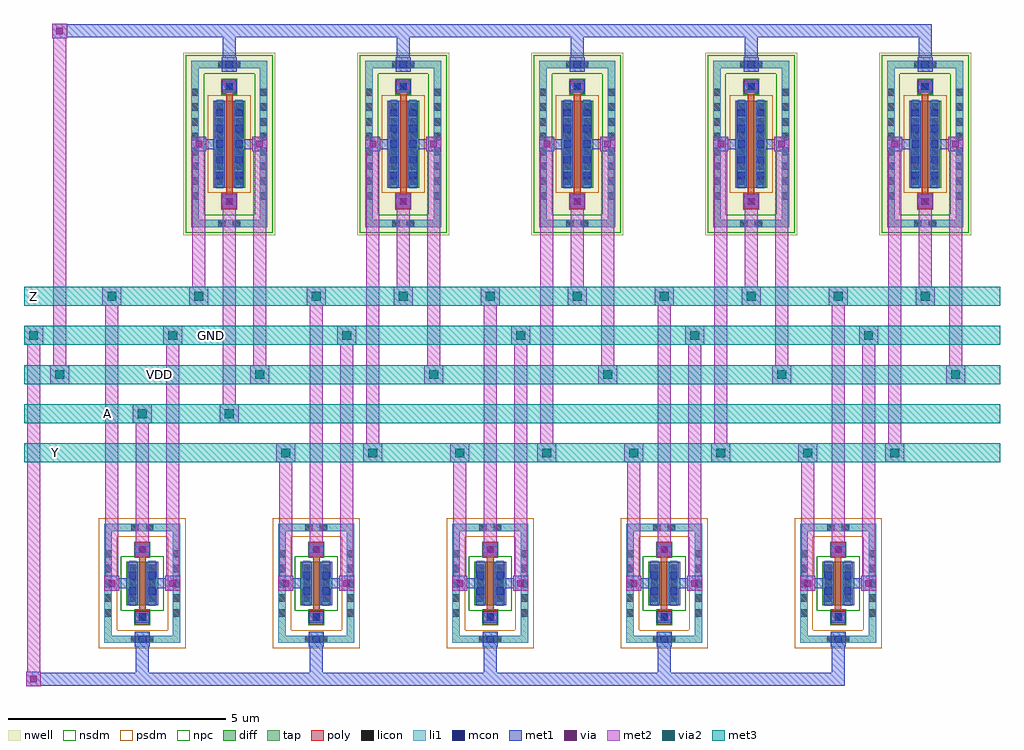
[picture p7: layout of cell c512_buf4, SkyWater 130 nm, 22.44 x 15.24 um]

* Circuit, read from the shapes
.subckt c512_buf4 A GND VDD Y Z
XM1 GND A Z GND sky130_fd_pr__nfet_01v8 w=1 l=0.15
XM2 GND Z Y GND sky130_fd_pr__nfet_01v8 w=1 l=0.15 m=4
XM3 VDD A Z VDD sky130_fd_pr__pfet_01v8 w=2 l=0.15
XM4 VDD Z Y VDD sky130_fd_pr__pfet_01v8 w=2 l=0.15 m=4
.ends

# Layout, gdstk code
import gdstk
lib = gdstk.Library(unit=1e-6, precision=1e-09)
def R(c, l, rs):  # rectangles x0, y0, x1, y1
    for r in rs: c.add(gdstk.rectangle(r[:2], r[2:], *l))
def A(c, l, x, y, w, h, nx, ny, dx, dy):  # array of equal rectangles
    R(c, l, [(x+i*dx, y+j*dy, x+i*dx+w, y+j*dy+h) for i in range(nx) for j in range(ny)])
nwell = (64, 20)
diff = (65, 20)
tap = (65, 44)
poly = (66, 20)
licon = (66, 44)
li1 = (67, 20)
mcon = (67, 44)
met1 = (68, 20)
via = (68, 44)
met2 = (69, 20)
via2 = (69, 44)
met3 = (70, 20)
nsdm = (93, 44)
psdm = (94, 20)
npc = (95, 20)

c512_buf4 = lib.new_cell('c512_buf4')
A(c512_buf4, nwell, 3.945, 8.005, 2.11, 4.19, 5, 1, 4, 0)
A(c512_buf4, diff, 2.635, -0.5, 0.73, 1, 5, 1, 4, 0)
A(c512_buf4, diff, 4.635, 9.1, 0.73, 2, 5, 1, 4, 0)
A(c512_buf4, tap, 2.125, -1.37, 1.75, 0.17, 5, 2, 4, 2.57)
A(c512_buf4, tap, 4.125, 8.185, 1.75, 0.17, 5, 2, 4, 3.66)
R(c512_buf4, tap, [(2.125,-1.2,2.295,1.2), (3.705,-1.2,3.875,1.2), (6.125,-1.2,6.295,1.2), (7.705,-1.2,7.875,1.2), (10.125,-1.2,10.295,1.2), (11.705,-1.2,11.875,1.2), (14.125,-1.2,14.295,1.2), (15.705,-1.2,15.875,1.2), (18.125,-1.2,18.295,1.2), (19.705,-1.2,19.875,1.2), (4.125,8.355,4.295,11.845), (5.705,8.355,5.875,11.845), (8.125,8.355,8.295,11.845), (9.705,8.355,9.875,11.845), (12.125,8.355,12.295,11.845), (13.705,8.355,13.875,11.845), (16.125,8.355,16.295,11.845), (17.705,8.355,17.875,11.845), (20.125,8.355,20.295,11.845), (21.705,8.355,21.875,11.845)])
A(c512_buf4, poly, 2.835, -0.94, 0.33, 0.33, 5, 2, 4, 1.55)
A(c512_buf4, poly, 2.925, -0.61, 0.15, 1.22, 5, 1, 4, 0)
A(c512_buf4, poly, 4.835, 8.615, 0.33, 0.33, 5, 2, 4, 2.64)
A(c512_buf4, poly, 4.925, 8.945, 0.15, 2.31, 5, 1, 4, 0)
A(c512_buf4, licon, 2.915, -0.86, 0.17, 0.17, 5, 2, 4, 1.55)
A(c512_buf4, licon, 2.125, -0.765, 0.17, 0.17, 1, 5, 0, 0.34)
A(c512_buf4, licon, 3.705, -0.765, 0.17, 0.17, 1, 5, 0, 0.34)
A(c512_buf4, licon, 6.125, -0.765, 0.17, 0.17, 1, 5, 0, 0.34)
A(c512_buf4, licon, 7.705, -0.765, 0.17, 0.17, 1, 5, 0, 0.34)
A(c512_buf4, licon, 10.125, -0.765, 0.17, 0.17, 1, 5, 0, 0.34)
A(c512_buf4, licon, 11.705, -0.765, 0.17, 0.17, 1, 5, 0, 0.34)
A(c512_buf4, licon, 14.125, -0.765, 0.17, 0.17, 1, 5, 0, 0.34)
A(c512_buf4, licon, 15.705, -0.765, 0.17, 0.17, 1, 5, 0, 0.34)
A(c512_buf4, licon, 18.125, -0.765, 0.17, 0.17, 1, 5, 0, 0.34)
A(c512_buf4, licon, 19.705, -0.765, 0.17, 0.17, 1, 5, 0, 0.34)
A(c512_buf4, licon, 2.695, -0.425, 0.17, 0.17, 1, 3, 0, 0.34)
A(c512_buf4, licon, 3.135, -0.425, 0.17, 0.17, 1, 3, 0, 0.34)
A(c512_buf4, licon, 6.695, -0.425, 0.17, 0.17, 1, 3, 0, 0.34)
A(c512_buf4, licon, 7.135, -0.425, 0.17, 0.17, 1, 3, 0, 0.34)
A(c512_buf4, licon, 10.695, -0.425, 0.17, 0.17, 1, 3, 0, 0.34)
A(c512_buf4, licon, 11.135, -0.425, 0.17, 0.17, 1, 3, 0, 0.34)
A(c512_buf4, licon, 14.695, -0.425, 0.17, 0.17, 1, 3, 0, 0.34)
A(c512_buf4, licon, 15.135, -0.425, 0.17, 0.17, 1, 3, 0, 0.34)
A(c512_buf4, licon, 18.695, -0.425, 0.17, 0.17, 1, 3, 0, 0.34)
A(c512_buf4, licon, 19.135, -0.425, 0.17, 0.17, 1, 3, 0, 0.34)
A(c512_buf4, licon, 4.915, 8.695, 0.17, 0.17, 5, 2, 4, 2.64)
A(c512_buf4, licon, 4.125, 8.825, 0.17, 0.17, 1, 8, 0, 0.34)
A(c512_buf4, licon, 5.705, 8.825, 0.17, 0.17, 1, 8, 0, 0.34)
A(c512_buf4, licon, 8.125, 8.825, 0.17, 0.17, 1, 8, 0, 0.34)
A(c512_buf4, licon, 9.705, 8.825, 0.17, 0.17, 1, 8, 0, 0.34)
A(c512_buf4, licon, 12.125, 8.825, 0.17, 0.17, 1, 8, 0, 0.34)
A(c512_buf4, licon, 13.705, 8.825, 0.17, 0.17, 1, 8, 0, 0.34)
A(c512_buf4, licon, 16.125, 8.825, 0.17, 0.17, 1, 8, 0, 0.34)
A(c512_buf4, licon, 17.705, 8.825, 0.17, 0.17, 1, 8, 0, 0.34)
A(c512_buf4, licon, 20.125, 8.825, 0.17, 0.17, 1, 8, 0, 0.34)
A(c512_buf4, licon, 21.705, 8.825, 0.17, 0.17, 1, 8, 0, 0.34)
A(c512_buf4, licon, 4.695, 9.165, 0.17, 0.17, 1, 6, 0, 0.34)
A(c512_buf4, licon, 5.135, 9.165, 0.17, 0.17, 1, 6, 0, 0.34)
A(c512_buf4, licon, 8.695, 9.165, 0.17, 0.17, 1, 6, 0, 0.34)
A(c512_buf4, licon, 9.135, 9.165, 0.17, 0.17, 1, 6, 0, 0.34)
A(c512_buf4, licon, 12.695, 9.165, 0.17, 0.17, 1, 6, 0, 0.34)
A(c512_buf4, licon, 13.135, 9.165, 0.17, 0.17, 1, 6, 0, 0.34)
A(c512_buf4, licon, 16.695, 9.165, 0.17, 0.17, 1, 6, 0, 0.34)
A(c512_buf4, licon, 17.135, 9.165, 0.17, 0.17, 1, 6, 0, 0.34)
A(c512_buf4, licon, 20.695, 9.165, 0.17, 0.17, 1, 6, 0, 0.34)
A(c512_buf4, licon, 21.135, 9.165, 0.17, 0.17, 1, 6, 0, 0.34)
R(c512_buf4, licon, [(2.745,-1.37,2.915,-1.2), (3.085,-1.37,3.255,-1.2), (6.745,-1.37,6.915,-1.2), (7.085,-1.37,7.255,-1.2), (10.745,-1.37,10.915,-1.2), (11.085,-1.37,11.255,-1.2), (14.745,-1.37,14.915,-1.2), (15.085,-1.37,15.255,-1.2), (18.745,-1.37,18.915,-1.2), (19.085,-1.37,19.255,-1.2), (2.745,1.2,2.915,1.37), (3.085,1.2,3.255,1.37), (6.745,1.2,6.915,1.37), (7.085,1.2,7.255,1.37), (10.745,1.2,10.915,1.37), (11.085,1.2,11.255,1.37), (14.745,1.2,14.915,1.37), (15.085,1.2,15.255,1.37), (18.745,1.2,18.915,1.37), (19.085,1.2,19.255,1.37), (4.745,8.185,4.915,8.355), (5.085,8.185,5.255,8.355), (8.745,8.185,8.915,8.355), (9.085,8.185,9.255,8.355), (12.745,8.185,12.915,8.355), (13.085,8.185,13.255,8.355), (16.745,8.185,16.915,8.355), (17.085,8.185,17.255,8.355), (20.745,8.185,20.915,8.355), (21.085,8.185,21.255,8.355), (4.745,11.845,4.915,12.015), (5.085,11.845,5.255,12.015), (8.745,11.845,8.915,12.015), (9.085,11.845,9.255,12.015), (12.745,11.845,12.915,12.015), (13.085,11.845,13.255,12.015), (16.745,11.845,16.915,12.015), (17.085,11.845,17.255,12.015), (20.745,11.845,20.915,12.015), (21.085,11.845,21.255,12.015)])
A(c512_buf4, li1, 2.83, -1.455, 0.34, 0.085, 5, 2, 4, 0.255)
A(c512_buf4, li1, 2.125, -1.37, 1.75, 0.17, 5, 2, 4, 2.57)
A(c512_buf4, li1, 2.835, -0.86, 0.33, 0.17, 5, 2, 4, 1.55)
A(c512_buf4, li1, 4.125, 8.185, 1.75, 0.17, 5, 2, 4, 3.66)
A(c512_buf4, li1, 4.835, 8.695, 0.33, 0.17, 5, 2, 4, 2.64)
A(c512_buf4, li1, 4.83, 11.76, 0.34, 0.085, 5, 2, 4, 0.255)
R(c512_buf4, li1, [(2.125,-1.2,2.295,1.2), (3.705,-1.2,3.875,1.2), (6.125,-1.2,6.295,1.2), (7.705,-1.2,7.875,1.2), (10.125,-1.2,10.295,1.2), (11.705,-1.2,11.875,1.2), (14.125,-1.2,14.295,1.2), (15.705,-1.2,15.875,1.2), (18.125,-1.2,18.295,1.2), (19.705,-1.2,19.875,1.2), (2.695,-0.52,2.865,0.52), (3.135,-0.52,3.305,0.52), (6.695,-0.52,6.865,0.52), (7.135,-0.52,7.305,0.52), (10.695,-0.52,10.865,0.52), (11.135,-0.52,11.305,0.52), (14.695,-0.52,14.865,0.52), (15.135,-0.52,15.305,0.52), (18.695,-0.52,18.865,0.52), (19.135,-0.52,19.305,0.52), (4.125,8.355,4.295,11.845), (5.705,8.355,5.875,11.845), (8.125,8.355,8.295,11.845), (9.705,8.355,9.875,11.845), (12.125,8.355,12.295,11.845), (13.705,8.355,13.875,11.845), (16.125,8.355,16.295,11.845), (17.705,8.355,17.875,11.845), (20.125,8.355,20.295,11.845), (21.705,8.355,21.875,11.845), (4.695,9.08,4.865,11.12), (5.135,9.08,5.305,11.12), (8.695,9.08,8.865,11.12), (9.135,9.08,9.305,11.12), (12.695,9.08,12.865,11.12), (13.135,9.08,13.305,11.12), (16.695,9.08,16.865,11.12), (17.135,9.08,17.305,11.12), (20.695,9.08,20.865,11.12), (21.135,9.08,21.305,11.12)])
A(c512_buf4, mcon, 2.915, -1.37, 0.17, 0.17, 5, 2, 4, 0.51)
A(c512_buf4, mcon, 2.915, 0.69, 0.17, 0.17, 5, 1, 4, 0)
A(c512_buf4, mcon, 4.915, 8.695, 0.17, 0.17, 5, 2, 4, 2.64)
A(c512_buf4, mcon, 4.695, 9.295, 0.17, 0.17, 1, 5, 0, 0.36)
A(c512_buf4, mcon, 5.135, 9.295, 0.17, 0.17, 1, 5, 0, 0.36)
A(c512_buf4, mcon, 8.695, 9.295, 0.17, 0.17, 1, 5, 0, 0.36)
A(c512_buf4, mcon, 9.135, 9.295, 0.17, 0.17, 1, 5, 0, 0.36)
A(c512_buf4, mcon, 12.695, 9.295, 0.17, 0.17, 1, 5, 0, 0.36)
A(c512_buf4, mcon, 13.135, 9.295, 0.17, 0.17, 1, 5, 0, 0.36)
A(c512_buf4, mcon, 16.695, 9.295, 0.17, 0.17, 1, 5, 0, 0.36)
A(c512_buf4, mcon, 17.135, 9.295, 0.17, 0.17, 1, 5, 0, 0.36)
A(c512_buf4, mcon, 20.695, 9.295, 0.17, 0.17, 1, 5, 0, 0.36)
A(c512_buf4, mcon, 21.135, 9.295, 0.17, 0.17, 1, 5, 0, 0.36)
A(c512_buf4, mcon, 4.915, 11.845, 0.17, 0.17, 5, 1, 4, 0)
R(c512_buf4, mcon, [(2.695,-0.265,2.865,-0.095), (3.135,-0.265,3.305,-0.095), (6.695,-0.265,6.865,-0.095), (7.135,-0.265,7.305,-0.095), (10.695,-0.265,10.865,-0.095), (11.135,-0.265,11.305,-0.095), (14.695,-0.265,14.865,-0.095), (15.135,-0.265,15.305,-0.095), (18.695,-0.265,18.865,-0.095), (19.135,-0.265,19.305,-0.095), (2.695,0.095,2.865,0.265), (3.135,0.095,3.305,0.265), (6.695,0.095,6.865,0.265), (7.135,0.095,7.305,0.265), (10.695,0.095,10.865,0.265), (11.135,0.095,11.305,0.265), (14.695,0.095,14.865,0.265), (15.135,0.095,15.305,0.265), (18.695,0.095,18.865,0.265), (19.135,0.095,19.305,0.265)])
A(c512_buf4, met1, 2.85, -2.05, 0.3, 0.595, 5, 1, 4, 0)
A(c512_buf4, met1, 2.83, -1.455, 0.34, 0.34, 5, 1, 4, 0)
A(c512_buf4, met1, 2.83, -0.905, 0.34, 0.26, 5, 2, 4, 1.55)
A(c512_buf4, met1, 4.83, 8.65, 0.34, 0.26, 5, 2, 4, 2.64)
A(c512_buf4, met1, 4.83, 11.76, 0.34, 0.34, 5, 1, 4, 0)
A(c512_buf4, met1, 4.85, 12.1, 0.3, 0.45, 5, 1, 4, 0)
R(c512_buf4, met1, [(0.33,-2.37,0.67,-2.35), (0.33,-2.35,19.15,-2.05), (0.33,-2.05,0.67,-2.03), (2.665,-0.5,2.895,-0.115), (3.105,-0.5,3.335,-0.115), (6.665,-0.5,6.895,-0.115), (7.105,-0.5,7.335,-0.115), (10.665,-0.5,10.895,-0.115), (11.105,-0.5,11.335,-0.115), (14.665,-0.5,14.895,-0.115), (15.105,-0.5,15.335,-0.115), (18.665,-0.5,18.895,-0.115), (19.105,-0.5,19.335,-0.115), (2.13,-0.17,2.47,-0.115), (3.53,-0.17,3.87,-0.115), (6.13,-0.17,6.47,-0.115), (7.53,-0.17,7.87,-0.115), (10.13,-0.17,10.47,-0.115), (11.53,-0.17,11.87,-0.115), (14.13,-0.17,14.47,-0.115), (15.53,-0.17,15.87,-0.115), (18.13,-0.17,18.47,-0.115), (19.53,-0.17,19.87,-0.115), (2.13,-0.115,2.895,0.115), (3.105,-0.115,3.87,0.115), (6.13,-0.115,6.895,0.115), (7.105,-0.115,7.87,0.115), (10.13,-0.115,10.895,0.115), (11.105,-0.115,11.87,0.115), (14.13,-0.115,14.895,0.115), (15.105,-0.115,15.87,0.115), (18.13,-0.115,18.895,0.115), (19.105,-0.115,19.87,0.115), (2.13,0.115,2.47,0.17), (2.665,0.115,2.895,0.5), (3.105,0.115,3.335,0.5), (3.53,0.115,3.87,0.17), (6.13,0.115,6.47,0.17), (6.665,0.115,6.895,0.5), (7.105,0.115,7.335,0.5), (7.53,0.115,7.87,0.17), (10.13,0.115,10.47,0.17), (10.665,0.115,10.895,0.5), (11.105,0.115,11.335,0.5), (11.53,0.115,11.87,0.17), (14.13,0.115,14.47,0.17), (14.665,0.115,14.895,0.5), (15.105,0.115,15.335,0.5), (15.53,0.115,15.87,0.17), (18.13,0.115,18.47,0.17), (18.665,0.115,18.895,0.5), (19.105,0.115,19.335,0.5), (19.53,0.115,19.87,0.17), (4.665,9.1,4.895,9.985), (5.105,9.1,5.335,9.985), (8.665,9.1,8.895,9.985), (9.105,9.1,9.335,9.985), (12.665,9.1,12.895,9.985), (13.105,9.1,13.335,9.985), (16.665,9.1,16.895,9.985), (17.105,9.1,17.335,9.985), (20.665,9.1,20.895,9.985), (21.105,9.1,21.335,9.985), (4.13,9.93,4.47,9.985), (5.53,9.93,5.87,9.985), (8.13,9.93,8.47,9.985), (9.53,9.93,9.87,9.985), (12.13,9.93,12.47,9.985), (13.53,9.93,13.87,9.985), (16.13,9.93,16.47,9.985), (17.53,9.93,17.87,9.985), (20.13,9.93,20.47,9.985), (21.53,9.93,21.87,9.985), (4.13,9.985,4.895,10.215), (5.105,9.985,5.87,10.215), (8.13,9.985,8.895,10.215), (9.105,9.985,9.87,10.215), (12.13,9.985,12.895,10.215), (13.105,9.985,13.87,10.215), (16.13,9.985,16.895,10.215), (17.105,9.985,17.87,10.215), (20.13,9.985,20.895,10.215), (21.105,9.985,21.87,10.215), (4.13,10.215,4.47,10.27), (4.665,10.215,4.895,11.1), (5.105,10.215,5.335,11.1), (5.53,10.215,5.87,10.27), (8.13,10.215,8.47,10.27), (8.665,10.215,8.895,11.1), (9.105,10.215,9.335,11.1), (9.53,10.215,9.87,10.27), (12.13,10.215,12.47,10.27), (12.665,10.215,12.895,11.1), (13.105,10.215,13.335,11.1), (13.53,10.215,13.87,10.27), (16.13,10.215,16.47,10.27), (16.665,10.215,16.895,11.1), (17.105,10.215,17.335,11.1), (17.53,10.215,17.87,10.27), (20.13,10.215,20.47,10.27), (20.665,10.215,20.895,11.1), (21.105,10.215,21.335,11.1), (21.53,10.215,21.87,10.27), (0.93,12.53,1.27,12.55), (0.93,12.55,21.15,12.85), (0.93,12.85,1.27,12.87)])
A(c512_buf4, via, 2.925, 0.7, 0.15, 0.15, 5, 1, 4, 0)
A(c512_buf4, via, 4.925, 8.705, 0.15, 0.15, 5, 1, 4, 0)
R(c512_buf4, via, [(0.425,-2.275,0.575,-2.125), (2.225,-0.075,2.375,0.075), (3.625,-0.075,3.775,0.075), (6.225,-0.075,6.375,0.075), (7.625,-0.075,7.775,0.075), (10.225,-0.075,10.375,0.075), (11.625,-0.075,11.775,0.075), (14.225,-0.075,14.375,0.075), (15.625,-0.075,15.775,0.075), (18.225,-0.075,18.375,0.075), (19.625,-0.075,19.775,0.075), (4.225,10.025,4.375,10.175), (5.625,10.025,5.775,10.175), (8.225,10.025,8.375,10.175), (9.625,10.025,9.775,10.175), (12.225,10.025,12.375,10.175), (13.625,10.025,13.775,10.175), (16.225,10.025,16.375,10.175), (17.625,10.025,17.775,10.175), (20.225,10.025,20.375,10.175), (21.625,10.025,21.775,10.175), (1.025,12.625,1.175,12.775)])
A(c512_buf4, met2, 3.55, 0.17, 0.3, 5.31, 5, 1, 4, 0)
A(c512_buf4, met2, 6.15, 0.17, 0.3, 2.61, 4, 1, 4, 0)
A(c512_buf4, met2, 2.83, 0.605, 0.34, 0.34, 5, 1, 4, 0)
A(c512_buf4, met2, 6.85, 0.945, 0.3, 5.435, 4, 1, 4, 0)
A(c512_buf4, met2, 6.08, 2.78, 0.44, 0.44, 8, 1, 2, 0)
A(c512_buf4, met2, 8.15, 3.22, 0.3, 6.71, 4, 1, 4, 0)
A(c512_buf4, met2, 5.48, 4.58, 0.44, 0.44, 5, 1, 4, 0)
A(c512_buf4, met2, 5.55, 5.02, 0.3, 4.91, 5, 1, 4, 0)
A(c512_buf4, met2, 3.48, 5.48, 0.44, 0.44, 5, 1, 4, 0)
A(c512_buf4, met2, 6.78, 6.38, 0.44, 0.44, 8, 1, 2, 0)
A(c512_buf4, met2, 8.85, 6.82, 0.3, 1.79, 4, 1, 4, 0)
A(c512_buf4, met2, 4.83, 8.61, 0.34, 0.34, 5, 1, 4, 0)
R(c512_buf4, met2, [(0.33,-2.37,0.67,-2.03), (0.35,-2.03,0.65,5.48), (2.13,-0.17,2.47,0.17), (3.53,-0.17,3.87,0.17), (6.13,-0.17,6.47,0.17), (7.53,-0.17,7.87,0.17), (10.13,-0.17,10.47,0.17), (11.53,-0.17,11.87,0.17), (14.13,-0.17,14.47,0.17), (15.53,-0.17,15.87,0.17), (18.13,-0.17,18.47,0.17), (19.53,-0.17,19.87,0.17), (2.15,0.17,2.45,6.38), (2.85,0.945,3.15,3.68), (2.78,3.68,3.22,4.12), (4.78,3.68,5.22,4.12), (4.85,4.12,5.15,8.61), (0.88,4.58,1.32,5.02), (0.95,5.02,1.25,12.53), (0.28,5.48,0.72,5.92), (2.08,6.38,2.52,6.82), (4.08,6.38,4.52,6.82), (4.15,6.82,4.45,9.93), (4.13,9.93,4.47,10.27), (5.53,9.93,5.87,10.27), (8.13,9.93,8.47,10.27), (9.53,9.93,9.87,10.27), (12.13,9.93,12.47,10.27), (13.53,9.93,13.87,10.27), (16.13,9.93,16.47,10.27), (17.53,9.93,17.87,10.27), (20.13,9.93,20.47,10.27), (21.53,9.93,21.87,10.27), (0.93,12.53,1.27,12.87)])
A(c512_buf4, via2, 6.2, 2.9, 0.2, 0.2, 8, 1, 2, 0)
A(c512_buf4, via2, 5.6, 4.7, 0.2, 0.2, 5, 1, 4, 0)
A(c512_buf4, via2, 3.6, 5.6, 0.2, 0.2, 5, 1, 4, 0)
A(c512_buf4, via2, 6.9, 6.5, 0.2, 0.2, 8, 1, 2, 0)
R(c512_buf4, via2, [(2.9,3.8,3.1,4), (4.9,3.8,5.1,4), (1,4.7,1.2,4.9), (0.4,5.6,0.6,5.8), (2.2,6.5,2.4,6.7), (4.2,6.5,4.4,6.7)])
A(c512_buf4, met3, 0.28, 2.78, 22.44, 0.44, 1, 5, 0, 0.9)
A(c512_buf4, nsdm, 2.51, -0.625, 0.98, 1.25, 5, 1, 4, 0)
A(c512_buf4, nsdm, 4, 8.06, 2, 0.42, 5, 2, 4, 3.66)
R(c512_buf4, nsdm, [(4,8.48,4.42,11.72), (5.58,8.48,6,11.72), (8,8.48,8.42,11.72), (9.58,8.48,10,11.72), (12,8.48,12.42,11.72), (13.58,8.48,14,11.72), (16,8.48,16.42,11.72), (17.58,8.48,18,11.72), (20,8.48,20.42,11.72), (21.58,8.48,22,11.72)])
A(c512_buf4, psdm, 2, -1.495, 2, 0.42, 5, 2, 4, 2.57)
A(c512_buf4, psdm, 4.51, 8.975, 0.98, 2.25, 5, 1, 4, 0)
R(c512_buf4, psdm, [(2,-1.075,2.42,1.075), (3.58,-1.075,4,1.075), (6,-1.075,6.42,1.075), (7.58,-1.075,8,1.075), (10,-1.075,10.42,1.075), (11.58,-1.075,12,1.075), (14,-1.075,14.42,1.075), (15.58,-1.075,16,1.075), (18,-1.075,18.42,1.075), (19.58,-1.075,20,1.075)])
A(c512_buf4, npc, 2.815, -0.96, 0.37, 0.37, 5, 2, 4, 1.55)
A(c512_buf4, npc, 4.815, 8.595, 0.37, 0.37, 5, 2, 4, 2.64)
c512_buf4.add(gdstk.Label('Z', (0.5,6.6), layer=70, texttype=5))
c512_buf4.add(gdstk.Label('Y', (1,3), layer=70, texttype=5))
c512_buf4.add(gdstk.Label('A', (2.2,3.9), layer=70, texttype=5))
c512_buf4.add(gdstk.Label('VDD', (3.4,4.8), layer=70, texttype=5))
c512_buf4.add(gdstk.Label('GND', (4.6,5.7), layer=70, texttype=5))

lib.write_gds('c512_buf4.gds')
